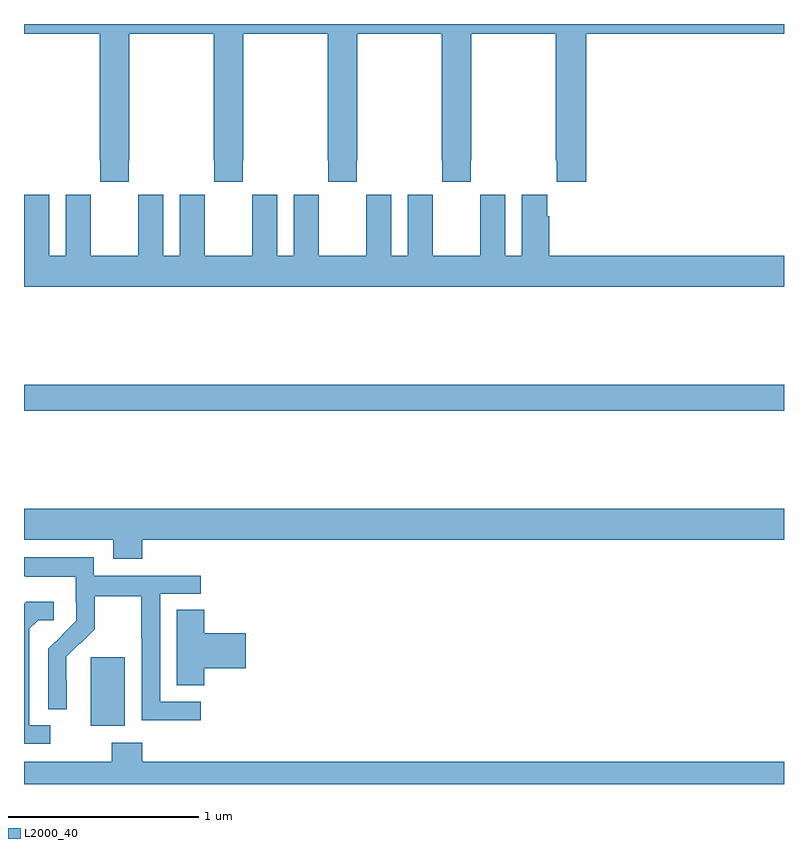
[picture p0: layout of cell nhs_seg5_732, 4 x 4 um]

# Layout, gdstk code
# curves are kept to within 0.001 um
import gdstk
lib = gdstk.Library(unit=1e-6, precision=1e-09)
def R(c, l, rs):  # rectangles x0, y0, x1, y1
    for r in rs: c.add(gdstk.rectangle(r[:2], r[2:], *l))
def P(c, l, *ps):  # polygons
    for p in ps: c.add(gdstk.Polygon(p, *l))
L2000_40 = (2000, 40)

nhs_seg5_732 = lib.new_cell('nhs_seg5_732')
R(nhs_seg5_732, L2000_40, [(157.352,865.106,157.531,865.467), (157,866.764,161,866.9)])
P(nhs_seg5_732, L2000_40, [(157.551,868.081),(157.554,868.081),(157.554,868.748),(157.999,868.748),(157.999,868.081),(158.001,868.081),(158.001,867.969),(158.151,867.969),(158.151,868.081),(158.154,868.081),(158.154,868.748),(158.599,868.748),(158.599,868.081),(158.601,868.081),(158.601,867.969),(158.751,867.969),(158.751,868.081),(158.754,868.081),(158.754,868.748),(159.199,868.748),(159.199,868.081),(159.201,868.081),(159.201,867.969),(159.351,867.969),(159.351,868.081),(159.354,868.081),(159.354,868.748),(159.799,868.748),(159.799,868.081),(159.805,868.081),(159.805,867.969),(159.959,867.969),(159.959,868.748),(161,868.748),(161,868.799),(157,868.799),(157,868.748),(157.399,868.748),(157.399,868.081),(157.401,868.081),(157.401,867.969),(157.551,867.969)],
  [(161,867.58),(159.764,867.58),(159.764,867.788),(159.754,867.788),(159.754,867.901),(159.62,867.901),(159.62,867.58),(159.532,867.58),(159.532,867.901),(159.402,867.901),(159.402,867.788),(159.401,867.788),(159.401,867.58),(159.151,867.58),(159.151,867.788),(159.15,867.788),(159.15,867.901),(159.02,867.901),(159.02,867.58),(158.932,867.58),(158.932,867.901),(158.802,867.901),(158.802,867.788),(158.801,867.788),(158.801,867.58),(158.551,867.58),(158.551,867.788),(158.55,867.788),(158.55,867.901),(158.42,867.901),(158.42,867.58),(158.332,867.58),(158.332,867.901),(158.202,867.901),(158.202,867.788),(158.201,867.788),(158.201,867.58),(157.951,867.58),(157.951,867.788),(157.95,867.788),(157.95,867.901),(157.82,867.901),(157.82,867.58),(157.732,867.58),(157.732,867.901),(157.602,867.901),(157.602,867.788),(157.601,867.788),(157.601,867.58),(157.351,867.58),(157.351,867.788),(157.35,867.788),(157.35,867.901),(157.22,867.901),(157.22,867.58),(157.132,867.58),(157.132,867.901),(157.002,867.901),(157.002,867.788),(157.001,867.788),(157.001,867.58),(157,867.58),(157,867.416),(161,867.416)],
  [(157.622,866.084),(161,866.084),(161,866.248),(157,866.248),(157,866.084),(157.469,866.084),(157.469,865.985),(157.622,865.985)],
  [(157.93,865.233),(157.716,865.233),(157.716,865.8),(157.93,865.8),(157.93,865.896),(157.368,865.896),(157.368,865.993),(157,865.993),(157,865.893),(157.009,865.893),(157.009,865.889),(157.272,865.889),(157.272,865.755),(157.274,865.755),(157.274,865.658),(157.128,865.51),(157.128,865.192),(157.224,865.192),(157.223,865.469),(157.293,865.539),(157.296,865.536),(157.373,865.613),(157.373,865.788),(157.618,865.788),(157.618,865.564),(157.62,865.564),(157.62,865.135),(157.93,865.135)],
  [(157.138,865.107),(157.027,865.107),(157.027,865.615),(157.074,865.662),(157.156,865.662),(157.156,865.759),(157.012,865.759),(157,865.747),(157,865.011),(157.138,865.011)],
  [(157.949,865.409),(158.167,865.409),(158.167,865.592),(157.949,865.592),(157.949,865.715),(157.805,865.715),(157.805,865.318),(157.949,865.318)],
  [(161,864.916),(157.622,864.916),(157.622,865.015),(157.462,865.015),(157.462,864.916),(157,864.916),(157,864.799),(161,864.799)])

lib.write_gds('nhs_seg5_732.gds')
